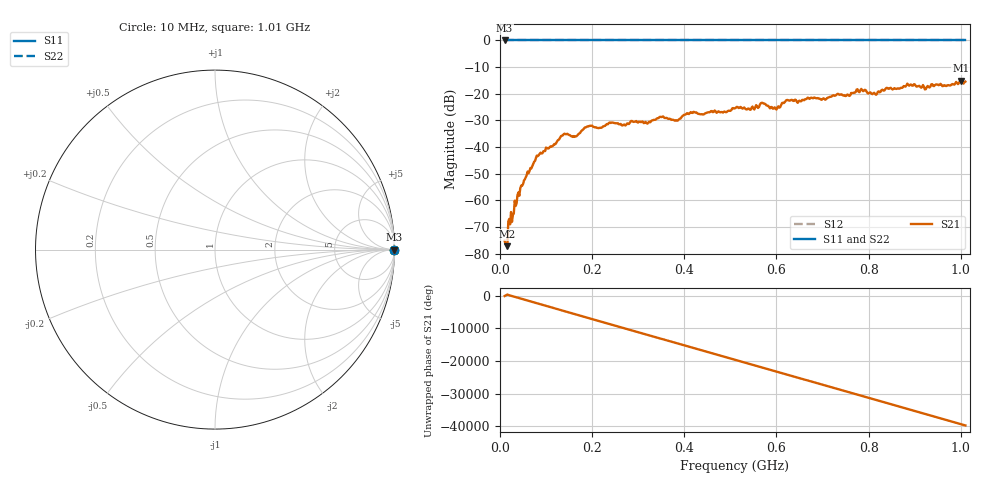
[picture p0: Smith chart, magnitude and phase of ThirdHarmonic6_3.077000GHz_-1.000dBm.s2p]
! 8/17/2025 9:00:46 AM
! C:\ANRITSUVNA\TEMP\TEMP.S2P
! CHANNEL.1
! TR.MEASUREMENT
! RAW.DATA
! RF.CORRECTION.OFF
! AVERAGING.OFF
! IF.BANDWIDTH: 5KHZ
! SWEEPTYPE:  FREQ.SWEEP(Linear)
! Reference Plane Port Info
! PORT:  PORT1  PORT2
! DISTANCE:  0  m  0  m
! TIME:  0  s  0  s
! PHASE.OFFSET:  0  deg.  0  deg.
! LOSS:  0  dB  0  dB
! REF.LOSS:  0  dB  0  dB
! REF.FREQ:  0  Hz  0  Hz
! Power Info
! POWER:  -20  dBm  -20  dBm
! EFF.POWER:  -20  dBm  -20  dBm
! SOURCE.ATTEN:  0  dB  0  dB
! TEST.ATTEN:  0  dB  0  dB
# GHZ S RI R 50.0
! FREQ.GHZ  S11RE  S11IM  S21RE  S21IM  S12RE  S12IM  S22RE  S22IM
!; PortSelection: Port_12
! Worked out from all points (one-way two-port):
!   501 points, 10 MHz to 1.01 GHz, reference 50 ohm
!   highest |S21| = -15.06 dB at 1 GHz (marker M1); lowest = -77.2 dB at 16 MHz (marker M2)
!   lowest |S11| = 0.0 dB at 10 MHz (marker M3)
!   |S11| at or under -10 dB: nowhere
!   |S22| runs from 0.0 to 0.0 dB; largest |S21 - S12| = 1.2
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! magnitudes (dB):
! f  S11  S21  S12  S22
! 10 MHz  0.0  -75.1  0.0  0.0
! 16 MHz  0.0  -77.2  0.0  0.0
! 22 MHz  0.0  -69.0  0.0  0.0
! 42 MHz  0.0  -58.3  0.0  0.0
! 82 MHz  0.0  -43.4  0.0  0.0
! 136 MHz  0.0  -35.7  0.0  0.0
! 162 MHz  0.0  -36.2  0.0  0.0
! 178 MHz  0.0  -33.7  0.0  0.0
! 344 MHz  0.0  -29.1  0.0  0.0
! 382 MHz  0.0  -29.9  0.0  0.0
! 416 MHz  0.0  -27.2  0.0  0.0
! 510 MHz  0.0  -25.5  0.0  0.0
! 540 MHz  0.0  -25.6  0.0  0.0
! 570 MHz  0.0  -23.4  0.0  0.0
! 596 MHz  0.0  -25.1  0.0  0.0
! 624 MHz  0.0  -22.3  0.0  0.0
! 678 MHz  0.0  -21.6  0.0  0.0
! 788 MHz  0.0  -19.0  0.0  0.0
! 814 MHz  0.0  -20.0  0.0  0.0
! 844 MHz  0.0  -18.1  0.0  0.0
! 1 GHz  0.0  -15.1  0.0  0.0
! 1.01 GHz  0.0  -15.4  0.0  0.0
